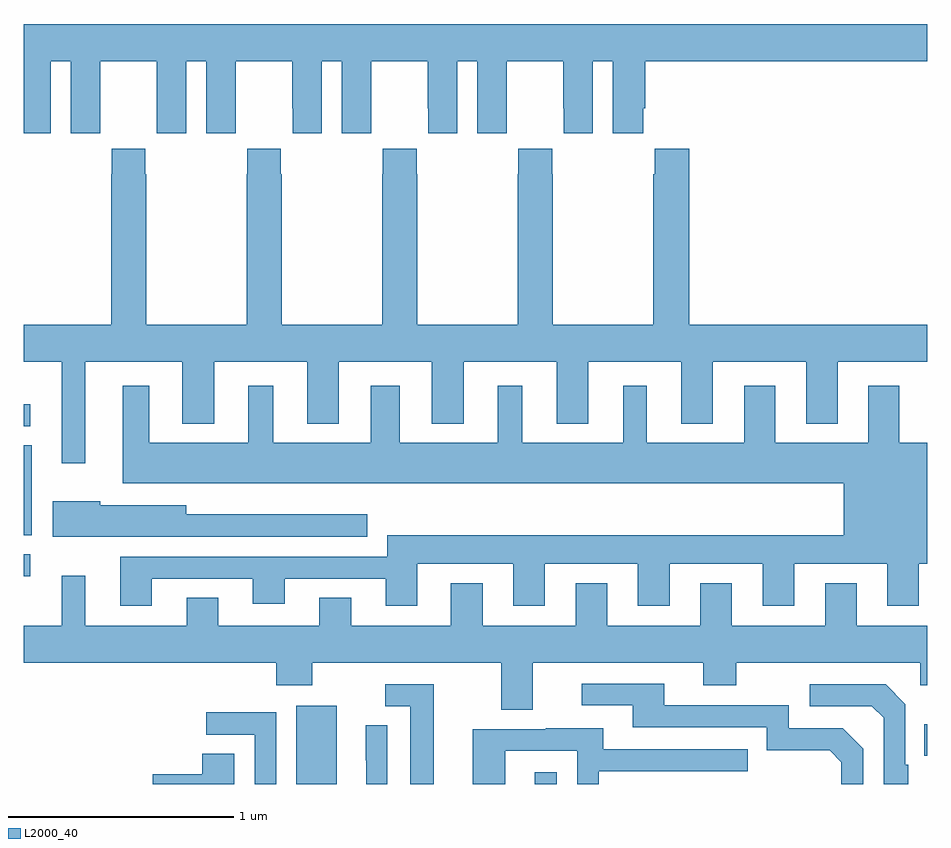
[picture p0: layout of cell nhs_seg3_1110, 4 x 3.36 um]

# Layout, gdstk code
import gdstk
lib = gdstk.Library(unit=1e-6, precision=1e-09)
def R(c, l, rs):  # rectangles x0, y0, x1, y1
    for r in rs: c.add(gdstk.rectangle(r[:2], r[2:], *l))
def P(c, l, *ps):  # polygons
    for p in ps: c.add(gdstk.Polygon(p, *l))
L2000_40 = (2000, 40)

nhs_seg3_1110 = lib.new_cell('nhs_seg3_1110')
R(nhs_seg3_1110, L2000_40, [(170.207,680.4,170.386,680.746), (171.263,680.4,171.36,680.452), (172.987,680.525,173,680.665), (169,681.319,169.03,681.417), (169,681.502,169.036,681.899), (169,681.984,169.03,682.08)])
P(nhs_seg3_1110, L2000_40, [(169.12,683.6),(169.208,683.6),(169.208,683.28),(169.338,683.28),(169.338,683.392),(169.339,683.392),(169.339,683.6),(169.589,683.6),(169.589,683.392),(169.59,683.392),(169.59,683.28),(169.72,683.28),(169.72,683.6),(169.808,683.6),(169.808,683.28),(169.938,683.28),(169.938,683.392),(169.939,683.392),(169.939,683.6),(170.189,683.6),(170.189,683.392),(170.19,683.392),(170.19,683.28),(170.32,683.28),(170.32,683.6),(170.408,683.6),(170.408,683.28),(170.538,683.28),(170.538,683.392),(170.539,683.392),(170.539,683.6),(170.789,683.6),(170.789,683.392),(170.79,683.392),(170.79,683.28),(170.92,683.28),(170.92,683.6),(171.008,683.6),(171.008,683.28),(171.138,683.28),(171.138,683.392),(171.139,683.392),(171.139,683.6),(171.389,683.6),(171.389,683.392),(171.39,683.392),(171.39,683.28),(171.52,683.28),(171.52,683.6),(171.608,683.6),(171.608,683.28),(171.742,683.28),(171.742,683.392),(171.752,683.392),(171.752,683.6),(173,683.6),(173,683.764),(169,683.764),(169,683.28),(169.12,683.28)],
  [(169.273,682.268),(169.703,682.268),(169.703,681.995),(169.843,681.995),(169.843,682.268),(170.255,682.268),(170.255,681.995),(170.395,681.995),(170.395,682.268),(170.807,682.268),(170.807,681.995),(170.947,681.995),(170.947,682.268),(171.359,682.268),(171.359,681.995),(171.499,681.995),(171.499,682.268),(171.911,682.268),(171.911,681.995),(172.051,681.995),(172.051,682.268),(172.463,682.268),(172.463,681.995),(172.603,681.995),(172.603,682.268),(173,682.268),(173,682.432),(171.947,682.432),(171.947,683.212),(171.793,683.212),(171.793,683.099),(171.787,683.099),(171.787,682.432),(171.342,682.432),(171.342,683.099),(171.339,683.099),(171.339,683.212),(171.189,683.212),(171.189,683.099),(171.187,683.099),(171.187,682.432),(170.742,682.432),(170.742,683.099),(170.739,683.099),(170.739,683.212),(170.589,683.212),(170.589,683.099),(170.587,683.099),(170.587,682.432),(170.142,682.432),(170.142,683.099),(170.139,683.099),(170.139,683.212),(169.989,683.212),(169.989,683.099),(169.987,683.099),(169.987,682.432),(169.542,682.432),(169.542,683.099),(169.539,683.099),(169.539,683.212),(169.389,683.212),(169.389,683.099),(169.387,683.099),(169.387,682.432),(169,682.432),(169,682.268),(169.169,682.268),(169.169,681.819),(169.273,681.819)],
  [(169.567,681.309),(170.015,681.309),(170.015,681.197),(170.155,681.197),(170.155,681.309),(170.603,681.309),(170.603,681.189),(170.743,681.189),(170.743,681.374),(171.167,681.374),(171.167,681.189),(171.307,681.189),(171.307,681.374),(171.719,681.374),(171.719,681.189),(171.859,681.189),(171.859,681.374),(172.271,681.374),(172.271,681.189),(172.411,681.189),(172.411,681.374),(172.823,681.374),(172.823,681.189),(172.963,681.189),(172.963,681.374),(173,681.374),(173,681.91),(172.876,681.91),(172.876,682.162),(172.739,682.162),(172.739,681.91),(172.327,681.91),(172.327,682.162),(172.19,682.162),(172.19,681.91),(171.757,681.91),(171.757,682.162),(171.653,682.162),(171.653,681.91),(171.208,681.91),(171.208,682.162),(171.098,682.162),(171.098,681.91),(170.665,681.91),(170.665,682.162),(170.537,682.162),(170.537,681.91),(170.104,681.91),(170.104,682.162),(169.994,682.162),(169.994,681.91),(169.555,681.91),(169.555,682.162),(169.439,682.162),(169.439,681.731),(172.631,681.731),(172.631,681.502),(170.609,681.502),(170.609,681.405),(169.427,681.405),(169.427,681.189),(169.567,681.189)],
  [(170.521,681.595),(169.72,681.595),(169.72,681.634),(169.338,681.634),(169.338,681.652),(169.128,681.652),(169.128,681.494),(170.521,681.494)],
  [(170.117,680.837),(170.277,680.837),(170.277,680.936),(171.113,680.936),(171.113,680.728),(171.253,680.728),(171.253,680.936),(172.007,680.936),(172.007,680.837),(172.155,680.837),(172.155,680.936),(172.968,680.936),(172.968,680.837),(173,680.837),(173,681.1),(172.687,681.1),(172.687,681.289),(172.547,681.289),(172.547,681.1),(172.135,681.1),(172.135,681.289),(171.995,681.289),(171.995,681.1),(171.583,681.1),(171.583,681.289),(171.443,681.289),(171.443,681.1),(171.031,681.1),(171.031,681.289),(170.891,681.289),(170.891,681.1),(170.449,681.1),(170.449,681.224),(170.309,681.224),(170.309,681.1),(169.861,681.1),(169.861,681.224),(169.721,681.224),(169.721,681.1),(169.273,681.1),(169.273,681.322),(169.169,681.322),(169.169,681.1),(169,681.1),(169,680.936),(170.117,680.936)],
  [(172.716,680.556),(172.626,680.646),(172.386,680.646),(172.386,680.748),(171.835,680.748),(171.835,680.844),(171.471,680.844),(171.471,680.748),(171.695,680.748),(171.695,680.652),(172.29,680.652),(172.29,680.549),(172.567,680.549),(172.62,680.496),(172.62,680.4),(172.716,680.4)],
  [(172.915,680.485),(172.902,680.485),(172.902,680.754),(172.815,680.841),(172.479,680.841),(172.479,680.745),(172.755,680.745),(172.806,680.694),(172.806,680.4),(172.915,680.4)],
  [(170.815,680.841),(170.601,680.841),(170.601,680.745),(170.711,680.745),(170.711,680.4),(170.815,680.4)],
  [(170.118,680.718),(169.809,680.718),(169.809,680.619),(170.022,680.619),(170.022,680.4),(170.118,680.4)],
  [(170.61,680.66),(170.514,680.66),(170.514,680.506),(170.516,680.506),(170.516,680.4),(170.61,680.4)],
  [(171.132,680.547),(171.45,680.547),(171.45,680.4),(171.546,680.4),(171.546,680.457),(172.205,680.457),(172.205,680.553),(171.565,680.553),(171.565,680.647),(171.311,680.647),(171.311,680.643),(170.987,680.643),(170.987,680.4),(171.132,680.4)],
  [(169.933,680.534),(169.79,680.534),(169.79,680.444),(169.572,680.444),(169.572,680.4),(169.933,680.4)])

lib.write_gds('nhs_seg3_1110.gds')
